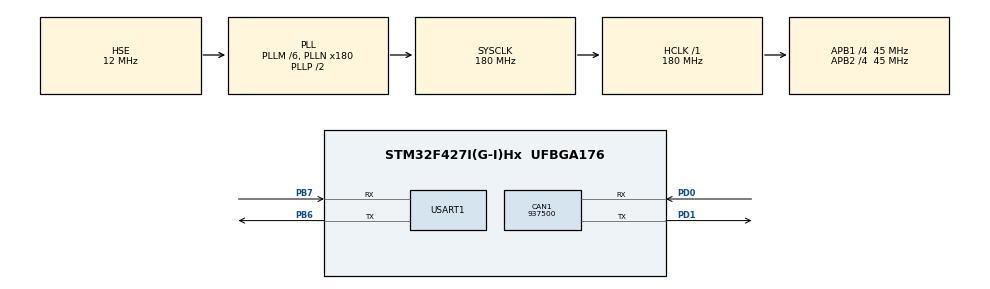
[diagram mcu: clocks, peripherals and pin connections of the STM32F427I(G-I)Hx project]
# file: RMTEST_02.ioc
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CAN1.BS1=CAN_BS1_1TQ
CAN1.BS2=CAN_BS2_1TQ
CAN1.CalculateBaudRate=937500
CAN1.CalculateTimeBit=1066
CAN1.CalculateTimeQuantum=355.55555555555554
FREERTOS.Tasks01=defaultTask,0,128,StartDefaultTask,Default,NULL,Dynamic,NULL,NULL;myTask02,-3,128,StartTask02,Default,NULL,Dynamic,NULL,NULL
Mcu.Family=STM32F4
Mcu.Name=STM32F427I(G-I)Hx
Mcu.Package=UFBGA176
NVIC.CAN1_RX0_IRQn=true\:5\:0\:false\:false\:true\:true\:true\:true\:true
NVIC.PriorityGroup=NVIC_PRIORITYGROUP_4
NVIC.TIM1_UP_TIM10_IRQn=true\:15\:0\:false\:false\:true\:false\:false\:true\:true
NVIC.TimeBase=TIM1_UP_TIM10_IRQn
NVIC.TimeBaseIP=TIM1
NVIC.USART1_IRQn=true\:5\:0\:false\:false\:true\:true\:true\:true\:true
PB6.Mode=Asynchronous
PB6.Signal=USART1_TX
PB7.Mode=Asynchronous
PB7.Signal=USART1_RX
PC14/OSC32_IN.Mode=LSE-External-Oscillator
PC14/OSC32_IN.Signal=RCC_OSC32_IN
PC15/OSC32_OUT.Mode=LSE-External-Oscillator
PC15/OSC32_OUT.Signal=RCC_OSC32_OUT
PD0.Mode=CAN_Activate
PD0.Signal=CAN1_RX
PD1.Mode=CAN_Activate
PD1.Signal=CAN1_TX
PH0/OSC_IN.Mode=HSE-External-Oscillator
PH0/OSC_IN.Signal=RCC_OSC_IN
PH1/OSC_OUT.Mode=HSE-External-Oscillator
PH1/OSC_OUT.Signal=RCC_OSC_OUT
ProjectManager.HeapSize=0x200
ProjectManager.StackSize=0x400
ProjectManager.TargetToolchain=MDK-ARM V5.32
RCC.48MHZClocksFreq_Value=90000000
RCC.AHBFreq_Value=180000000
RCC.APB1CLKDivider=RCC_HCLK_DIV4
RCC.APB1Freq_Value=45000000
RCC.APB1TimFreq_Value=90000000
RCC.APB2CLKDivider=RCC_HCLK_DIV4
RCC.APB2Freq_Value=45000000
RCC.APB2TimFreq_Value=90000000
RCC.CortexFreq_Value=180000000
RCC.HCLKFreq_Value=180000000
RCC.HSE_VALUE=12000000
RCC.HSI_VALUE=16000000
RCC.PLLM=6
RCC.PLLN=180
RCC.PLLSourceVirtual=RCC_PLLSOURCE_HSE
RCC.SYSCLKFreq_VALUE=180000000
RCC.SYSCLKSource=RCC_SYSCLKSOURCE_PLLCLK
RCC.VCOOutputFreq_Value=360000000
USART1.VirtualMode=VM_ASYNC
VP_FREERTOS_VS_CMSIS_V1.Mode=CMSIS_V1
VP_SYS_VS_tim1.Mode=TIM1
board=custom

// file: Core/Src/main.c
/* USER CODE BEGIN Header */
/**
  ******************************************************************************
  * @file           : main.c
  * @brief          : Main program body
  ******************************************************************************
  * @attention
  *
  * Copyright (c) 2022 STMicroelectronics.
  * All rights reserved.
  *
  * This software is licensed under terms that can be found in the LICENSE file
  * in the root directory of this software component.
  * If no LICENSE file comes with this software, it is provided AS-IS.
  *
  ******************************************************************************
  */
/* USER CODE END Header */
#include "main.h"
#include "cmsis_os.h"
#include "can.h"
#include "usart.h"
#include "gpio.h"

/* USER CODE BEGIN Includes */
#include "bsp_can.h"
#include "CAN_receive.h"
/* USER CODE END Includes */

void SystemClock_Config(void);
void MX_FREERTOS_Init(void);

int main(void)
{

  /* MCU Configuration--------------------------------------------------------*/

  /* Reset of all peripherals, Initializes the Flash interface and the Systick. */
  HAL_Init();

  /* Configure the system clock */
  SystemClock_Config();

  /* Initialize all configured peripherals */
  MX_GPIO_Init();
  MX_CAN1_Init();
  MX_USART1_UART_Init();

  /* Call init function for freertos objects (in freertos.c) */
  MX_FREERTOS_Init();

  /* Start scheduler */
  osKernelStart();

  /* We should never get here as control is now taken by the scheduler */
  /* Infinite loop */
  while (1)
  {

  }
}

void SystemClock_Config(void)
{
  RCC_OscInitTypeDef RCC_OscInitStruct = {0};
  RCC_ClkInitTypeDef RCC_ClkInitStruct = {0};

  /** Configure the main internal regulator output voltage
  */
  __HAL_RCC_PWR_CLK_ENABLE();
  __HAL_PWR_VOLTAGESCALING_CONFIG(PWR_REGULATOR_VOLTAGE_SCALE1);

  /** Initializes the RCC Oscillators according to the specified parameters
  * in the RCC_OscInitTypeDef structure.
  */
  RCC_OscInitStruct.OscillatorType = RCC_OSCILLATORTYPE_HSE;
  RCC_OscInitStruct.HSEState = RCC_HSE_ON;
  RCC_OscInitStruct.PLL.PLLState = RCC_PLL_ON;
  RCC_OscInitStruct.PLL.PLLSource = RCC_PLLSOURCE_HSE;
  RCC_OscInitStruct.PLL.PLLM = 6;
  RCC_OscInitStruct.PLL.PLLN = 180;
  RCC_OscInitStruct.PLL.PLLP = RCC_PLLP_DIV2;
  RCC_OscInitStruct.PLL.PLLQ = 4;
  if (HAL_RCC_OscConfig(&RCC_OscInitStruct) != HAL_OK)
  {
    Error_Handler();
  }

  /** Activate the Over-Drive mode
  */
  if (HAL_PWREx_EnableOverDrive() != HAL_OK)
  {
    Error_Handler();
  }

  /** Initializes the CPU, AHB and APB buses clocks
  */
  RCC_ClkInitStruct.ClockType = RCC_CLOCKTYPE_HCLK|RCC_CLOCKTYPE_SYSCLK
                              |RCC_CLOCKTYPE_PCLK1|RCC_CLOCKTYPE_PCLK2;
  RCC_ClkInitStruct.SYSCLKSource = RCC_SYSCLKSOURCE_PLLCLK;
  RCC_ClkInitStruct.AHBCLKDivider = RCC_SYSCLK_DIV1;
  RCC_ClkInitStruct.APB1CLKDivider = RCC_HCLK_DIV4;
  RCC_ClkInitStruct.APB2CLKDivider = RCC_HCLK_DIV4;

  if (HAL_RCC_ClockConfig(&RCC_ClkInitStruct, FLASH_LATENCY_5) != HAL_OK)
  {
    Error_Handler();
  }
}

void HAL_TIM_PeriodElapsedCallback(TIM_HandleTypeDef *htim)
{
  if (htim->Instance == TIM1) {
    HAL_IncTick();
  }
}

void Error_Handler(void)
{
  __disable_irq();
  while (1)
  {
  }
}

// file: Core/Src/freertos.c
/* USER CODE BEGIN Header */
/**
  ******************************************************************************
  * File Name          : freertos.c
  * Description        : Code for freertos applications
  ******************************************************************************
  * @attention
  *
  * Copyright (c) 2022 STMicroelectronics.
  * All rights reserved.
  *
  * This software is licensed under terms that can be found in the LICENSE file
  * in the root directory of this software component.
  * If no LICENSE file comes with this software, it is provided AS-IS.
  *
  ******************************************************************************
  */
/* USER CODE END Header */

#include "FreeRTOS.h"
#include "task.h"
#include "main.h"
#include "cmsis_os.h"

/* USER CODE BEGIN Includes */
#include "bsp_can.h"
#include "CAN_receive.h"
#include "usart.h"
/* USER CODE END Includes */

/* USER CODE BEGIN PTD */
unsigned char Usart_TX_Buf[40];
uint16_t date1;//stm32接收到串口的数据
uint16_t Tracking_speed;//寻迹速度
uint16_t start_speed = 0;//初始速度
uint8_t Usart1_RX_Buf;  //串口接收数据缓存buf
/* USER CODE END PTD */

osThreadId defaultTaskHandle;
osThreadId myTask02Handle;

void StartDefaultTask(void const * argument);
void StartTask02(void const * argument);

void MX_FREERTOS_Init(void); /* (MISRA C 2004 rule 8.1) */

/* GetIdleTaskMemory prototype (linked to static allocation support) */
void vApplicationGetIdleTaskMemory( StaticTask_t **ppxIdleTaskTCBBuffer, StackType_t **ppxIdleTaskStackBuffer, uint32_t *pulIdleTaskStackSize );

/* USER CODE BEGIN GET_IDLE_TASK_MEMORY */
static StaticTask_t xIdleTaskTCBBuffer;
static StackType_t xIdleStack[configMINIMAL_STACK_SIZE];

void vApplicationGetIdleTaskMemory( StaticTask_t **ppxIdleTaskTCBBuffer, StackType_t **ppxIdleTaskStackBuffer, uint32_t *pulIdleTaskStackSize )
{
  *ppxIdleTaskTCBBuffer = &xIdleTaskTCBBuffer;
  *ppxIdleTaskStackBuffer = &xIdleStack[0];
  *pulIdleTaskStackSize = configMINIMAL_STACK_SIZE;
  /* place for user code */
}
/* USER CODE END GET_IDLE_TASK_MEMORY */

void MX_FREERTOS_Init(void) {

  /* Create the thread(s) */
  /* definition and creation of defaultTask */
  osThreadDef(defaultTask, StartDefaultTask, osPriorityNormal, 0, 128);
  defaultTaskHandle = osThreadCreate(osThread(defaultTask), NULL);

  /* definition and creation of myTask02 */
  osThreadDef(myTask02, StartTask02, osPriorityIdle, 0, 128);
  myTask02Handle = osThreadCreate(osThread(myTask02), NULL);

}

void StartDefaultTask(void const * argument)
{
  /* USER CODE BEGIN StartDefaultTask */
  /* Infinite loop */
		const motor_measure_t* motor_2006_1;
	motor_2006_1 = get_trigger_motor_measure_point();//返回拨弹电机 2006电机数据指针

  for(;;)
  {

			HAL_UART_Transmit(&huart1,(uint8_t *)&motor_2006_1,1,0xFFFF);//输出电机的信息

    osDelay(1);
  }
  /* USER CODE END StartDefaultTask */
}

void StartTask02(void const * argument)
{
  /* USER CODE BEGIN StartTask02 */
  /* Infinite loop */
  for(;;)
  {

 //shoot: (0x207) 2006电机控制电流, 范围 [-10000,10000]
		CAN_cmd_gimbal(0, 0, 5000, 0);

    osDelay(1);
  }
  /* USER CODE END StartTask02 */
}

/* USER CODE BEGIN Application */

/**************************************************************************
函数功能：USART1接收中断回调
引脚：		 TX_PA9,RX_PA10
**************************************************************************/
//串口中断回调函数
void HAL_UART_RxCpltCallback(UART_HandleTypeDef *huart)
{

		uint8_t i;
		static uint8_t RxCounter1=0;//数据缓冲区的索引
		static uint8_t RxBuffer1[5]={0};//存放数据的接收缓存区
		static uint8_t RxState = 0;	//接收标志位

		if(RxState==0&&Usart1_RX_Buf==0xA5)  //0xA5帧头
				{
					RxState=1;//状态1
					RxBuffer1[RxCounter1++]=Usart1_RX_Buf;//RxBuffer1[0]==0xA5 RxCounter1==1
				}

				else if(RxState==1)//开始接收有效数据
				{
					RxBuffer1[RxCounter1++]=Usart1_RX_Buf;//全部接收完，RxCounter1==5

					if(RxCounter1>=5||Usart1_RX_Buf == 0x5A)       //RxBuffer1接受满了,接收数据结束
					{
						  RxState=2;
						//RxBuffer1[2]是openmv发送的第一个数据的低八位,RxBuffer1[3]是openmv发送的第一个数据的高八位
						//date1=(RxBuffer1[RxCounter1-4]<<8)+(RxBuffer1[RxCounter1-5]);//分为低八位和高八位，先发低后发高
						//date2=(RxBuffer1[RxCounter1-2]<<8)+(RxBuffer1[RxCounter1-3]);
						date1=(RxBuffer1[RxCounter1-2]<<8)+(RxBuffer1[RxCounter1-3]);
//						HAL_GPIO_WritePin(GPIOC, GPIO_PIN_13, 1);

					}
				}

				else if(RxState==3)		//检测是否接受到结束标志
				{
						if(RxBuffer1[RxCounter1-1] == 0x5A)
						{

									RxCounter1 = 0;
									RxState = 0;

						}
						else   //接收错误
						{
									RxState = 0;
									RxCounter1=0;
									for(i=0;i<5;i++)
									{
											RxBuffer1[i]=0x00;      //将存放数据数组清零

									}
						}
				}

				else   //接收异常
				{
						RxState = 0;
						RxCounter1=0;
						for(i=0;i<5;i++)
						{
								RxBuffer1[i]=0x00;      //将存放数据数组清零

						}
				}

	HAL_UART_Receive_IT(&huart1,&Usart1_RX_Buf,1);

}

/* USER CODE END Application */
